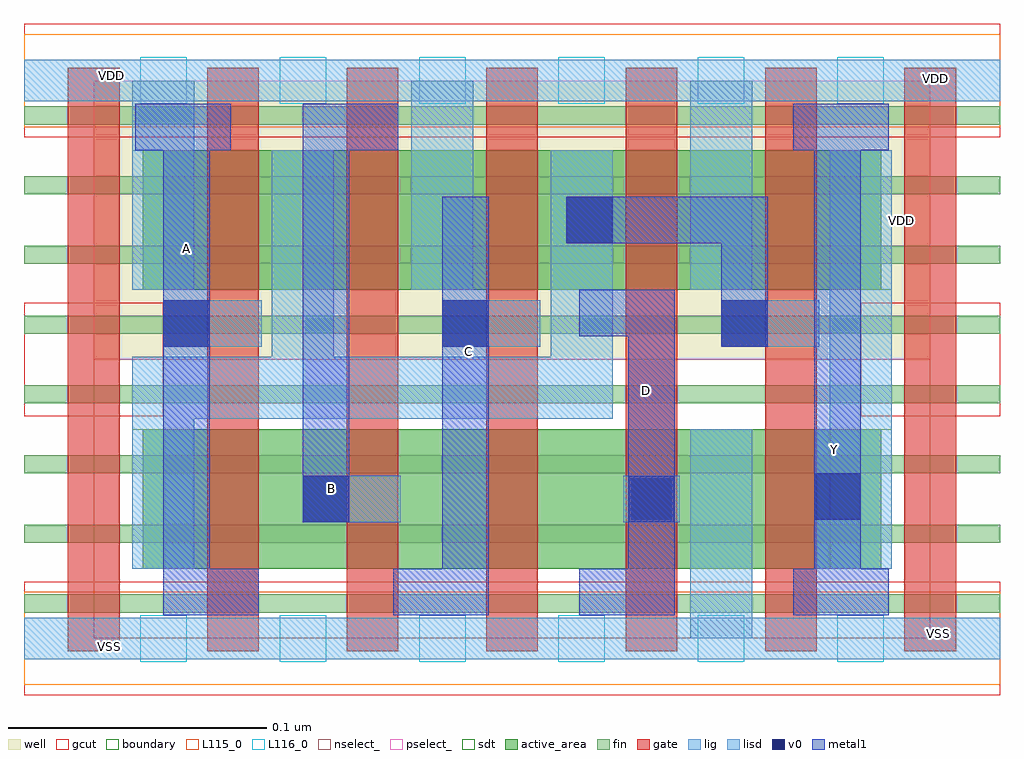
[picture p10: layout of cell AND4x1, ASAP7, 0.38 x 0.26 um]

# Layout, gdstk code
import gdstk
lib = gdstk.Library(unit=1e-6, precision=2.5e-10)
def R(c, l, rs):  # rectangles x0, y0, x1, y1
    for r in rs: c.add(gdstk.rectangle(r[:2], r[2:], *l))
def A(c, l, x, y, w, h, nx, ny, dx, dy):  # array of equal rectangles
    R(c, l, [(x+i*dx, y+j*dy, x+i*dx+w, y+j*dy+h) for i in range(nx) for j in range(ny)])
def P(c, l, *ps):  # polygons
    for p in ps: c.add(gdstk.Polygon(p, *l))
well = (1, 0)
fin = (2, 0)
gate = (7, 0)
gcut = (10, 0)
active_area = (11, 0)
nselect_ = (12, 0)
pselect_ = (13, 0)
lig = (16, 0)
lisd = (17, 0)
v0 = (18, 0)
metal1 = (19, 0)
sdt = (88, 0)
boundary = (100, 0)
L115_0 = (115, 0)
L116_0 = (116, 0)

and4x1 = lib.new_cell('AND4x1')
R(and4x1, well, [(0,0.108,0.324,0.216)])
A(and4x1, fin, -0.027, 0.01, 0.378, 0.007, 1, 8, 0, 0.027)
A(and4x1, gate, -0.01, -0.005, 0.02, 0.226, 7, 1, 0.054, 0)
R(and4x1, gate, [(0.314,-0.005,0.334,0.221), (0.314,-0.005,0.334,0.221), (0.314,-0.005,0.334,0.221), (0.314,-0.005,0.334,0.221)])
R(and4x1, gcut, [(-0.027,-0.022,0.351,0.022), (-0.027,0.086,0.027,0.13), (0.297,0.086,0.351,0.13), (-0.027,0.194,0.351,0.238)])
R(and4x1, active_area, [(0.019,0.027,0.305,0.081), (0.019,0.135,0.305,0.189)])
R(and4x1, nselect_, [(0,0,0.324,0.108)])
R(and4x1, pselect_, [(0,0.108,0.324,0.216)])
A(and4x1, lig, 0.027, 0.113, 0.038, 0.018, 3, 1, 0.108, 0)
R(and4x1, lig, [(-0.027,-0.008,0.351,0.008), (0.081,0.045,0.119,0.063), (0.205,0.045,0.227,0.063), (-0.027,0.208,0.351,0.224)])
A(and4x1, lisd, 0.015, 0.135, 0.024, 0.081, 3, 1, 0.108, 0)
R(and4x1, lisd, [(0.231,0,0.255,0.081), (0.279,0.027,0.309,0.081), (0.285,0.081,0.309,0.189)])
P(and4x1, lisd, [(0.201,0.085),(0.039,0.085),(0.039,0.027),(0.015,0.027),(0.015,0.109),(0.069,0.109),(0.069,0.189),(0.093,0.189),(0.093,0.109),(0.177,0.109),(0.177,0.189),(0.201,0.189)])
A(and4x1, v0, 0.027, 0.113, 0.018, 0.018, 3, 1, 0.108, 0)
R(and4x1, v0, [(0.081,0.045,0.099,0.063), (0.207,0.045,0.225,0.063), (0.279,0.046,0.297,0.064), (0.183,0.153,0.201,0.171)])
R(and4x1, metal1, [(0.027,0.009,0.064,0.027), (0.027,0.009,0.045,0.207), (0.116,0.009,0.153,0.027), (0.135,0.009,0.153,0.171), (0.188,0.009,0.225,0.027), (0.207,0.009,0.225,0.135), (0.271,0.009,0.308,0.027), (0.279,0.009,0.297,0.207), (0.081,0.045,0.099,0.207), (0.243,0.113,0.261,0.171), (0.188,0.117,0.225,0.135), (0.183,0.153,0.261,0.171), (0.016,0.189,0.053,0.207), (0.081,0.189,0.118,0.207), (0.271,0.189,0.308,0.207)])
A(and4x1, sdt, 0.015, 0.135, 0.024, 0.054, 6, 1, 0.054, 0)
R(and4x1, sdt, [(0.015,0.027,0.039,0.081), (0.231,0.027,0.255,0.081), (0.285,0.027,0.309,0.081)])
R(and4x1, boundary, [(0,0,0.324,0.216)])
R(and4x1, L115_0, [(-0.027,-0.018,0.351,0.018), (-0.027,0.198,0.351,0.234)])
A(and4x1, L116_0, 0.018, -0.009, 0.018, 0.018, 6, 2, 0.054, 0.216)
and4x1.add(gdstk.Label('D', (0.214,0.096), layer=19, texttype=251))
and4x1.add(gdstk.Label('C', (0.145,0.111), layer=19, texttype=251))
and4x1.add(gdstk.Label('B', (0.092,0.058), layer=19, texttype=251))
and4x1.add(gdstk.Label('A', (0.036,0.151), layer=19, texttype=251))
and4x1.add(gdstk.Label('Y', (0.287,0.073), layer=19, texttype=251))
and4x1.add(gdstk.Label('VDD', (0.313,0.162), layer=1, texttype=251))
and4x1.add(gdstk.Label('VSS', (0.369,0.162), layer=3, texttype=251))
and4x1.add(gdstk.Label('VDD', (0.007,0.218), layer=115, texttype=251))
and4x1.add(gdstk.Label('VSS', (0.006,-0.003), layer=115, texttype=251))
and4x1.add(gdstk.Label('VSS', (0.327,0.002), layer=115, texttype=251))
and4x1.add(gdstk.Label('VDD', (0.326,0.217), layer=115, texttype=251))

lib.write_gds('AND4x1.gds')
